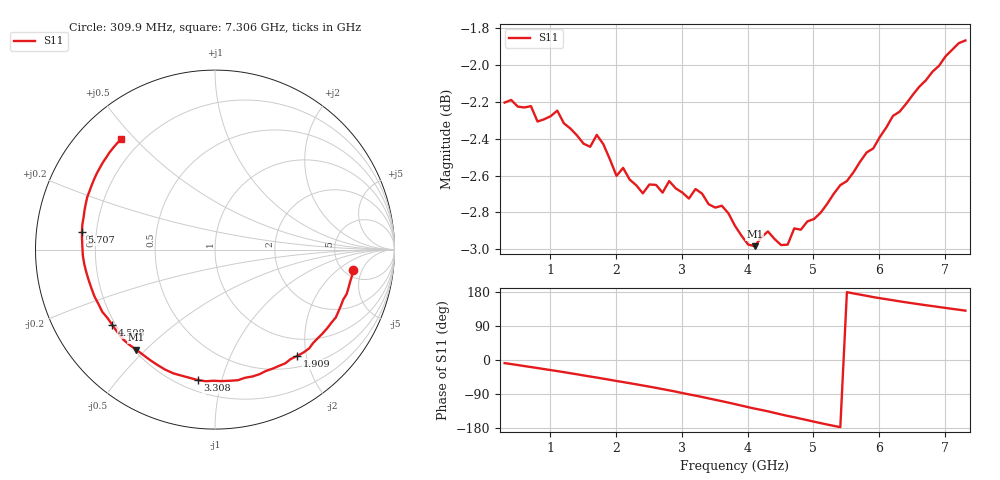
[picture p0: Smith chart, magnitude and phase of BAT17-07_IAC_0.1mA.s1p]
! Infineon Technologies  Discrete & RF Semiconductors
! BAT17-07
! IAC = 0.1 mA
! One-Port S-Parameters
# Hz  S  MA  R  50
!f  S11
!Hz  Mag  Ang
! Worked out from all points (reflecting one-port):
!   71 points, 309.9 MHz to 7.306 GHz, reference 50 ohm
!   lowest |S11| = -3.0 dB at 4.108 GHz (marker M1), VSWR 5.88, Z = 10.4 - j23.4 ohm
!   phase of S11 starts at -8 deg and turns -221 deg over the sweep
!   S11 on the Smith chart (normalised r, x): 309.9 MHz: 6.01, -3.36; 1.909 GHz: 0.68, -1.84; 3.308 GHz: 0.27, -0.84; 4.508 GHz: 0.19, -0.32; 5.707 GHz: 0.14, +0.06; 7.306 GHz: 0.13, +0.46
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3.0985e8  0.776 -8.3
7.0965e8  0.7742 -18.6
1.10945e9  0.7721 -29.3
1.2094e9  0.766 -32.0
1.70915e9  0.7604 -46.3
1.90905e9  0.7489 -52.3
2.10895e9  0.7449 -58.2
2.6087e9  0.737 -73.5
2.8086e9  0.7388 -80.1
3.0085e9  0.7335 -87.2
3.2084e9  0.7351 -94.0
3.30835e9  0.733 -97.6
3.6082e9  0.7275 -108.6
3.8081e9  0.7184 -116.4
4.10795e9  0.7093 -128.3
4.30785e9  0.7159 -135.4
4.50775e9  0.7098 -143.6
4.70765e9  0.7173 -151.0
4.90755e9  0.7204 -158.8
5.2074e9  0.7283 -170.2
5.4073e9  0.7369 -177.3
5.6072e9  0.7429 175.7
5.70715e9  0.7478 172.5
5.90705e9  0.754 166.0
6.2069e9  0.7695 157.7
6.50675e9  0.7797 149.6
7.0065e9  0.7988 137.4
7.30635e9  0.8067 130.3
